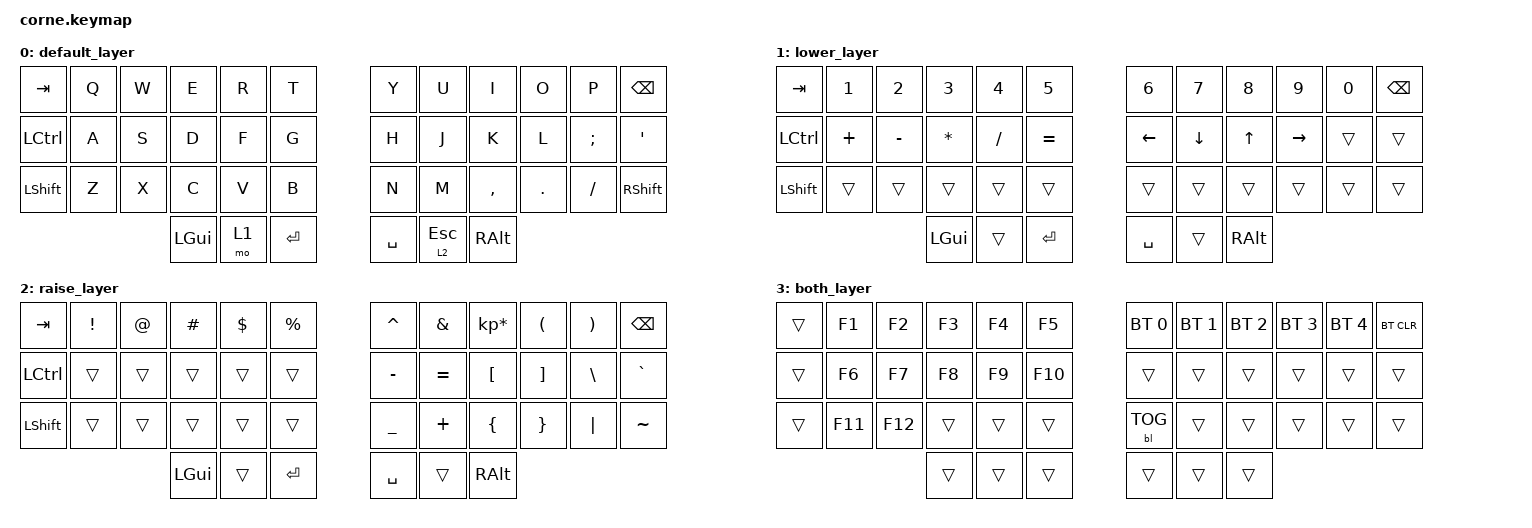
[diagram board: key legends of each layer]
/*
 * Copyright (c) 2020 The ZMK Contributors
 *
 * SPDX-License-Identifier: MIT
 */

#include <behaviors.dtsi>
#include <dt-bindings/zmk/backlight.h>
#include <dt-bindings/zmk/bt.h>
#include <dt-bindings/zmk/keys.h>

/ {
    combos {
        compatible = "zmk,combos";

        delete {
            bindings = <&kp DEL>;
            key-positions = <11 41>;
            layers = <0>;
        };
    };

    keymap {
        compatible = "zmk,keymap";

        default_layer {
            // -----------------------------------------------------------------------------------------
            // |  TAB |  Q  |  W  |  E  |  R  |  T  |   |  Y  |  U   |  I  |  O  |  P  | BKSP |
            // | CTRL |  A  |  S  |  D  |  F  |  G  |   |  H  |  J   |  K  |  L  |  ;  |  '   |
            // | SHFT |  Z  |  X  |  C  |  V  |  B  |   |  N  |  M   |  ,  |  .  |  /  | ESC  |
            //                    | GUI | LWR | SPC |   | ENT | RSE  | ALT |

            bindings = <
&kp TAB    &kp Q  &kp W  &kp E     &kp R  &kp T         &kp Y      &kp U         &kp I      &kp O    &kp P     &kp BSPC
&kp LCTRL  &kp A  &kp S  &kp D     &kp F  &kp G         &kp H      &kp J         &kp K      &kp L    &kp SEMI  &kp SQT
&kp LSHFT  &kp Z  &kp X  &kp C     &kp V  &kp B         &kp N      &kp M         &kp COMMA  &kp DOT  &kp FSLH  &kp RIGHT_SHIFT
                         &kp LGUI  &mo 1  &kp RETURN    &kp SPACE  &lt 2 ESCAPE  &kp RALT
            >;
        };

        lower_layer {
            // -----------------------------------------------------------------------------------------
            // |  TAB |  1  |  2  |  3  |  4  |  5  |   |  6  |  7  |  8  |  9  |  0  | BKSP |
            // | BTCLR| BT1 | BT2 | BT3 | BT4 | BT5 |   | LFT | DWN |  UP | RGT |     |      |
            // | SHFT |     |     |     |     |     |   |     |     |     |     |     |      |
            //                    | GUI |     | SPC |   | ENT |     | ALT |

            bindings = <
&kp TAB    &kp N1    &kp N2     &kp N3    &kp N4    &kp N5        &kp N6     &kp N7    &kp N8        &kp N9     &kp N0  &kp BSPC
&kp LCTRL  &kp PLUS  &kp MINUS  &kp STAR  &kp FSLH  &kp EQUAL     &kp LEFT   &kp DOWN  &kp UP_ARROW  &kp RIGHT  &trans  &trans
&kp LSHFT  &trans    &trans     &trans    &trans    &trans        &trans     &trans    &trans        &trans     &trans  &trans
                                &kp LGUI  &trans    &kp RETURN    &kp SPACE  &trans    &kp RALT
            >;
        };

        raise_layer {
            // -----------------------------------------------------------------------------------------
            // |  TAB |  !  |  @  |  #  |  $  |  %  |   |  ^  |  &  |  *  |  (  |  )  | BKSP |
            // | CTRL |     |     |     |     |     |   |  -  |  =  |  [  |  ]  |  \  |  `   |
            // | SHFT |     |     |     |     |     |   |  _  |  +  |  {  |  }  | "|" |  ~   |
            //                    | GUI |     | SPC |   | ENT |     | ALT |

            bindings = <
&kp TAB    &kp EXCL  &kp AT  &kp HASH  &kp DLLR  &kp PRCNT     &kp CARET  &kp AMPS   &kp KP_MULTIPLY  &kp LPAR  &kp RPAR  &kp BSPC
&kp LCTRL  &trans    &trans  &trans    &trans    &trans        &kp MINUS  &kp EQUAL  &kp LBKT         &kp RBKT  &kp BSLH  &kp GRAVE
&kp LSHFT  &trans    &trans  &trans    &trans    &trans        &kp UNDER  &kp PLUS   &kp LBRC         &kp RBRC  &kp PIPE  &kp TILDE
                             &kp LGUI  &trans    &kp RETURN    &kp SPACE  &trans     &kp RALT
            >;
        };

        both_layer {
            bindings = <
&trans  &kp F1   &kp F2   &kp F3  &kp F4  &kp F5     &bt BT_SEL 0  &bt BT_SEL 1  &bt BT_SEL 2  &bt BT_SEL 3  &bt BT_SEL 4  &bt BT_CLR
&trans  &kp F6   &kp F7   &kp F8  &kp F9  &kp F10    &trans        &trans        &trans        &trans        &trans        &trans
&trans  &kp F11  &kp F12  &trans  &trans  &trans     &bl BL_TOG    &trans        &trans        &trans        &trans        &trans
                          &trans  &trans  &trans     &trans        &trans        &trans
            >;
        };
    };

    conditional_layers {
        compatible = "zmk,conditional-layers";

        tri_layer {
            if-layers = <1 2>;
            then-layer = <3>;
        };
    };
};
